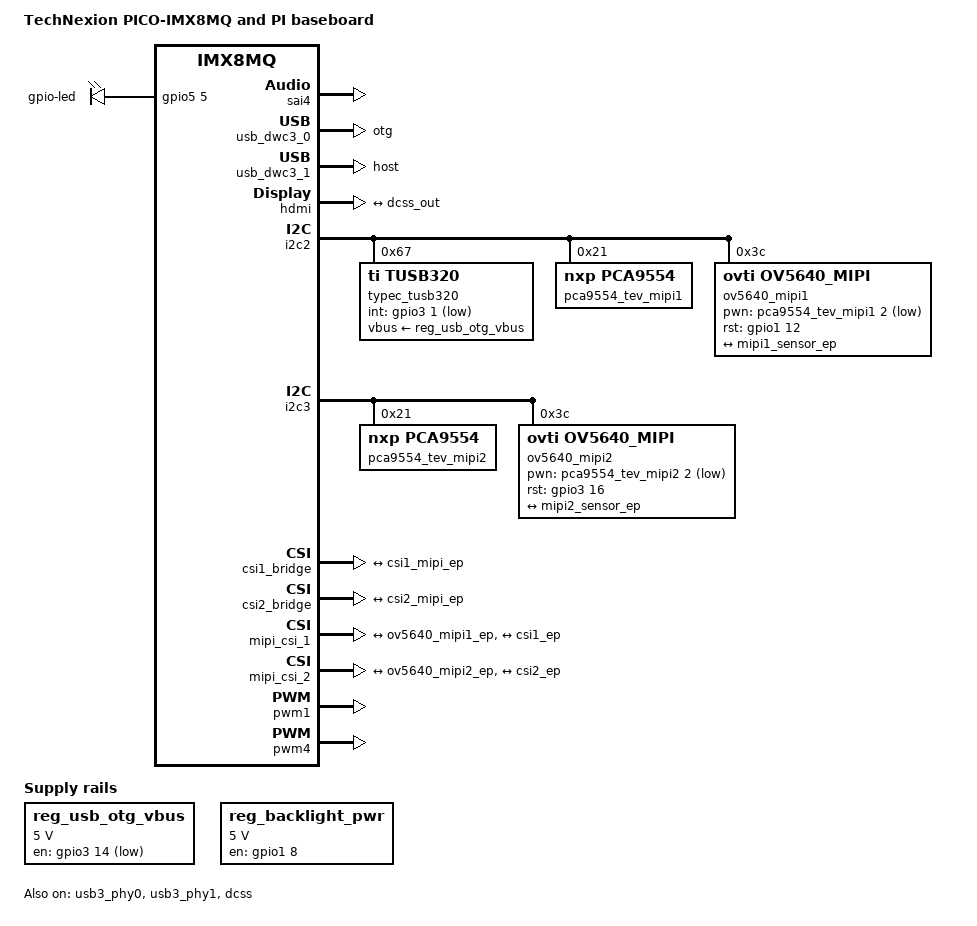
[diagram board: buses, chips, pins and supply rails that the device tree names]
// SPDX-License-Identifier: GPL-2.0+
/*
 * Copyright 2018 Wandboard, Org.
 * Copyright 2017 NXP
 *
 * Author: Richard Hu <hakahu@gmail.com>
 */

/dts-v1/;

#include "imx8mq-pico.dtsi"


&gpio3 {
	pinctrl-names = "default";
	pinctrl-0 = <&pinctrl_gpio3>;
	gpio-line-names =
		"GPIO_P28", "", "", "GPIO_P25", "", "GPIO_P30", "", "",
		"", "", "", "", "", "", "", "GPIO_P32",
		"", "", "", "", "", "", "", "",
		"", "", "", "", "", "", "", "";
};

/ {
	model = "TechNexion PICO-IMX8MQ and PI baseboard";
	compatible = "pico,imx8mq-pico", "fsl,imx8mq";

	chosen {
		stdout-path = &uart1;
	};

	regulators {
		compatible = "simple-bus";
		#address-cells = <1>;
		#size-cells = <0>;

		reg_usb_otg_vbus: regulator-usb-otg-vbus {
			pinctrl-names = "default";
			pinctrl-0 = <&pinctrl_otg_vbus>;
			compatible = "regulator-fixed";
			regulator-name = "usb_otg_vbus";
			regulator-min-microvolt = <5000000>;
			regulator-max-microvolt = <5000000>;
			gpio = <&gpio3 14 GPIO_ACTIVE_LOW>;
		};

		reg_backlight_pwr: regulator_blpwr {
			pinctrl-names = "default";
			pinctrl-0 = <&pinctrl_backlight_pwr>;
			compatible = "regulator-fixed";
			regulator-name = "backlight_pwr";
			regulator-min-microvolt = <5000000>;
			regulator-max-microvolt = <5000000>;
			gpio = <&gpio1 8 GPIO_ACTIVE_HIGH>;
			enable-active-high;
		};
	};

	leds {
		compatible = "gpio-leds";
		pinctrl-names = "default";

		led {
			label = "gpio-led";
			pintctrl-0 = <&pinctrl_led>;
			gpios = <&gpio5 5 0>;
			linux,default-trigger = "heartbeat";
		};
	};

	backlight_mipi {
		compatible = "pwm-backlight";
		pwms = <&pwm1 0 50000 0>;
		brightness-levels = <0 36 72 108 144 180 216 255>;
		default-brightness-level = <6>;
		power-supply = <&reg_backlight_pwr>;
		status = "disabled";
	};

	sound-hdmi {
		compatible = "fsl,imx-audio-cdnhdmi";
		model = "imx-audio-hdmi";
		audio-cpu = <&sai4>;
		protocol = <1>;
		hdmi-out;
		constraint-rate = <44100>,
				<88200>,
				<176400>,
				<32000>,
				<48000>,
				<96000>,
				<192000>;
	};
};

&sai4 {
	assigned-clocks = <&clk IMX8MQ_AUDIO_PLL1>, <&clk IMX8MQ_AUDIO_PLL2>, <&clk IMX8MQ_CLK_SAI4>;
	assigned-clock-parents = <0>, <0>, <&clk IMX8MQ_AUDIO_PLL1_OUT>;
	assigned-clock-rates = <786432000>, <722534400>, <24576000>;
	clocks = <&clk IMX8MQ_CLK_SAI4_IPG>, <&clk IMX8MQ_CLK_DUMMY>,
		<&clk IMX8MQ_CLK_SAI4_ROOT>, <&clk IMX8MQ_CLK_DUMMY>,
		<&clk IMX8MQ_CLK_DUMMY>, <&clk IMX8MQ_AUDIO_PLL1_OUT>,
		<&clk IMX8MQ_AUDIO_PLL2_OUT>;
	clock-names = "bus", "mclk0", "mclk1", "mclk2", "mclk3", "pll8k", "pll11k";
	status = "okay";
};

&usb3_phy0 {
	status = "okay";
};

&usb_dwc3_0 {
	extcon = <&typec_tusb320>;
	dr_mode = "otg";
	status = "okay";
};

&usb3_phy1 {
	status = "okay";
};

&usb_dwc3_1 {
	dr_mode = "host";
	status = "okay";
};

&dcss {
	status = "okay";

	port@0 {
		dcss_out: endpoint {
			remote-endpoint = <&hdmi_in>;
		};
	};
};

&hdmi {
	compatible = "cdn,imx8mq-hdmi";
	lane-mapping = <0xe4>;
	status = "okay";
	port@1 {
		hdmi_in: endpoint {
			remote-endpoint = <&dcss_out>;
		};
	};
};

&iomuxc {
	pinctrl-names = "default";
	pinctrl-0 = <&pinctrl_hog>;

	pinctrl_hog: hoggrp {
		fsl,pins = <
			/* Clock for both CSI1 and CSI2 */
			MX8MQ_IOMUXC_GPIO1_IO15_CCMSRCGPCMIX_CLKO2	0x07
		>;
	};

	pinctrl_otg_vbus: otgvbusgrp {
		fsl,pins = <
			MX8MQ_IOMUXC_NAND_DQS_GPIO3_IO14		0x19   /* USB OTG VBUS Enable */
		>;
	};

	pinctrl_backlight_pwr: backlight_pwrgrp {
		fsl,pins = <
			MX8MQ_IOMUXC_GPIO1_IO08_GPIO1_IO8		0x19
		>;
	};

	pinctrl_dsi_pwm: dsi_pwm {
		fsl,pins = <
			MX8MQ_IOMUXC_GPIO1_IO01_PWM1_OUT		0x16	/* DSI PWM */
		>;
	};

	pinctrl_fan_pwm: fan_pwm {
		fsl,pins = <
			MX8MQ_IOMUXC_SAI3_MCLK_PWM4_OUT			0x16	/* FAN PWM */
		>;
	};

	pinctrl_mipi_dsi_rst: mipi_dsi_rst {
		fsl,pins = <
			MX8MQ_IOMUXC_NAND_WE_B_GPIO3_IO17	0x16   /* DSI RST */
		>;
	};

	pinctrl_touch_irq: touch_irqgrp {
		fsl,pins = <
			MX8MQ_IOMUXC_GPIO1_IO07_GPIO1_IO7	0x41
		>;
	};

	pinctrl_tusb320_irq: tusb320_irqgrp {
		fsl,pins = <
			MX8MQ_IOMUXC_NAND_CE0_B_GPIO3_IO1	0x41
		>;
	};

	pinctrl_csi1: csi1grp {
		fsl,pins = <
			MX8MQ_IOMUXC_GPIO1_IO12_GPIO1_IO12		0x19   /* CSI nRST */
		>;
	};

	pinctrl_csi2: csi2grp {
		fsl,pins = <
			MX8MQ_IOMUXC_NAND_READY_B_GPIO3_IO16		0x19   /* GPIO_P44, CSI nRST */
		>;
	};

	pinctrl_touch_rst: touch_rstgrp {
		fsl,pins = <
			MX8MQ_IOMUXC_NAND_WP_B_GPIO3_IO18	0x16
		>;
	};

	pinctrl_led: ledggrp {
		fsl,pins = <
			MX8MQ_IOMUXC_SPDIF_EXT_CLK_GPIO5_IO5	0x19
		>;
	};

	/* GPIO on expansion IO J8 connector */
	pinctrl_gpio3: gpio3grp {
		fsl,pins = <
			MX8MQ_IOMUXC_NAND_ALE_GPIO3_IO0			0x19 /* GPIO_P28 */
			MX8MQ_IOMUXC_NAND_CE2_B_GPIO3_IO3		0x19 /* GPIO_P25, CLIX_RESET */
			MX8MQ_IOMUXC_NAND_CLE_GPIO3_IO5			0x19 /* GPIO_P30 */
			MX8MQ_IOMUXC_NAND_RE_B_GPIO3_IO15		0x19 /* GPIO_P32 */
		>;
	};
};

&i2c2 {
	status = "okay";

	typec_tusb320:tusb320@67 {
		compatible = "ti,tusb320";
		pinctrl-names = "default";
		pinctrl-0 = <&pinctrl_tusb320_irq>;
		reg = <0x67>;
		vbus-supply = <&reg_usb_otg_vbus>;
		tusb320,int-gpio = <&gpio3 1 GPIO_ACTIVE_LOW>;
		tusb320,select-mode = <0>;
		tusb320,dfp-power = <0>;
	};

	/* PCA9554 on camera tev_mipi board */
	pca9554_tev_mipi1: pca9554_tev_mipi@21 {
		compatible = "nxp,pca9554";
		reg =<0x21>;
		gpio-controller;
		#gpio-cells = <2>;
	};

	ov5640_mipi1: ov5640_mipi@3c {
		compatible = "ovti,ov5640_mipi";
		reg = <0x3c>;
		status = "okay";
		pinctrl-names = "default";
		pinctrl-0 = <&pinctrl_csi1>;
		clocks = <&clk IMX8MQ_CLK_CLKO2>;
		clock-names = "csi_mclk";
		assigned-clocks = <&clk IMX8MQ_CLK_CLKO2>;
		assigned-clock-parents = <&clk IMX8MQ_SYS2_PLL_200M>;
		assigned-clock-rates = <20000000>;
		csi_id = <0>;
		pwn-gpios = <&pca9554_tev_mipi1 2 GPIO_ACTIVE_LOW>;
		rst-gpios = <&gpio1 12 GPIO_ACTIVE_HIGH>;
		mclk = <20000000>;
		mclk_source = <0>;
		port {
			ov5640_mipi1_ep: endpoint {
				remote-endpoint = <&mipi1_sensor_ep>;
			};
		};
	};
};

&i2c3 {
	status = "okay";

	/* PCA9554 on camera tev_mipi board */
	pca9554_tev_mipi2: pca9554_tev_mipi@21 {
		compatible = "nxp,pca9554";
		reg =<0x21>;
		gpio-controller;
		#gpio-cells = <2>;
	};

	ov5640_mipi2: ov5640_mipi2@3c {
		compatible = "ovti,ov5640_mipi";
		reg = <0x3c>;
		status = "okay";
		pinctrl-names = "default";
		pinctrl-0 = <&pinctrl_csi2>;
		clocks = <&clk IMX8MQ_CLK_CLKO2>;
		clock-names = "csi_mclk";
		assigned-clocks = <&clk IMX8MQ_CLK_CLKO2>;
		assigned-clock-parents = <&clk IMX8MQ_SYS2_PLL_200M>;
		assigned-clock-rates = <20000000>;
		csi_id = <1>;
		pwn-gpios = <&pca9554_tev_mipi2 2 GPIO_ACTIVE_LOW>;
		rst-gpios = <&gpio3 16 GPIO_ACTIVE_HIGH>;
		mclk = <20000000>;
		mclk_source = <0>;
		port {
			ov5640_mipi2_ep: endpoint {
				remote-endpoint = <&mipi2_sensor_ep>;
			};
		};
	};
};

&csi1_bridge {
	fsl,mipi-mode;
	fsl,two-8bit-sensor-mode;
	status = "okay";

	port {
		csi1_ep: endpoint {
			remote-endpoint = <&csi1_mipi_ep>;
		};
	};
};

&csi2_bridge {
	fsl,mipi-mode;
	fsl,two-8bit-sensor-mode;
	status = "okay";

	port {
		csi2_ep: endpoint {
			remote-endpoint = <&csi2_mipi_ep>;
		};
	};
};

&mipi_csi_1 {
	#address-cells = <1>;
	#size-cells = <0>;
	status = "okay";
	port {
		mipi1_sensor_ep: endpoint@0 {
			remote-endpoint = <&ov5640_mipi1_ep>;
			data-lanes = <1 2>;
			bus-type = <4>;
		};

		csi1_mipi_ep: endpoint@1 {
			remote-endpoint = <&csi1_ep>;
		};
	};
};

&mipi_csi_2 {
	#address-cells = <1>;
	#size-cells = <0>;
	status = "okay";
	port {
		mipi2_sensor_ep: endpoint@0 {
			remote-endpoint = <&ov5640_mipi2_ep>;
			data-lanes = <1 2>;
			bus-type = <4>;
		};

		csi2_mipi_ep: endpoint@1 {
			remote-endpoint = <&csi2_ep>;
		};
	};
};

&pwm1 {
	pinctrl-names = "default";
	pinctrl-0 = <&pinctrl_dsi_pwm>;
	status = "okay";
};

&pwm4 {
	pinctrl-names = "default";
	pinctrl-0 = <&pinctrl_fan_pwm>;
	status = "okay";
};
